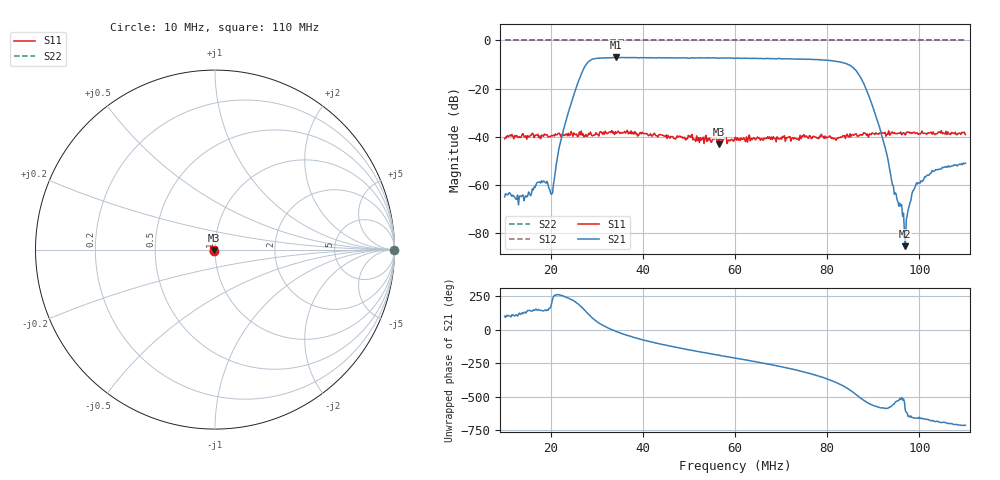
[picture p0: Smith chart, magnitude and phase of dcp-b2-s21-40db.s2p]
! Anritsu VNA Master:  Model: MS2034B/10/19/501
! SN:  1337062
! /bd0/ovro-jan-2016/dcp-b2-s21-40db.s2p
! Existing Calibration Information:
! TYPE:  Current Settings,  Active Cal Settings
! TIME:  01/09/2016 05:37:23 PM,  01/09/2016 12:40:35 PM
! INTERNAL TEMP:  41.8 C,  41.8 C
! # POINTS:  500,  500
! START FREQ:  10.000 MHz,  10.000 MHz
! STOP FREQ:  110.000 MHz,  110.000 MHz
! SOURCE POWER:  Low,  Low
! IFBW:  100 Hz,  100 Hz
! AVG FACTOR:  3 ,  3
! REF PLANE 1:  2.2245 m,  2.2245 m
! REF PLANE 2:  0 mm,  0 mm
! CAL TYPE:  1P2P S11,S21,  1P2P S11,S21
! CAL METHOD:  SOLT,  SOLT
! CAL LINE TYPE:  Coax,  Coax
! DUT PORT 1:  K-Conn(M),  K-Conn(M)
! DUT PORT 2:  N-Conn(M),  N-Conn(M)
! CAL STATUS:  OK: Accuracy High,  --
# GHZ S DB R 50.0
! FREQ.GHZ  S11DB  S11A  S21DB  S21A  S12DB  S12A  S22DB  S22A
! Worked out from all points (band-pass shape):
!   500 points, 10 MHz to 110 MHz, reference 50 ohm
!   highest |S21| = -7.05 dB at 34.25 MHz (marker M1); lowest = -85.6 dB at 96.97 MHz (marker M2)
!   |S21| within 3 dB of the highest: 27.69 MHz to 84.61 MHz (56.92 MHz wide, 101 % of centre)
!   lowest |S11| = -43.2 dB at 56.49 MHz (marker M3), VSWR 1.01, Z = 49.3 - j0.174 ohm
!   |S11| at or under -10 dB: start of sweep to end of sweep
!   |S22| runs from 0.0 to 0.0 dB; largest |S21 - S12| = 1.4
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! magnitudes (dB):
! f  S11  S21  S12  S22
! 10 MHz  -40.9  -65.1  0.0  0.0
! 14.61 MHz  -39.7  -64.6  0.0  0.0
! 18.42 MHz  -39.9  -58.5  0.0  0.0
! 20.22 MHz  -39.6  -64.1  0.0  0.0
! 22.63 MHz  -38.9  -38.3  0.0  0.0
! 26.83 MHz  -39.4  -13.1  0.0  0.0
! 29.04 MHz  -39.7  -7.8  0.0  0.0
! 34.25 MHz  -38.6  -7.1  0.0  0.0
! 43.47 MHz  -39.3  -7.2  0.0  0.0
! 56.49 MHz  -43.2  -7.4  0.0  0.0
! 60.1 MHz  -40.3  -7.5  0.0  0.0
! 76.73 MHz  -40.7  -7.9  0.0  0.0
! 83.75 MHz  -39.6  -9.4  0.0  0.0
! 86.55 MHz  -40.0  -13.3  0.0  0.0
! 90.16 MHz  -38.8  -29.1  0.0  0.0
! 93.37 MHz  -37.6  -51.5  0.0  0.0
! 94.37 MHz  -38.7  -60.5  0.0  0.0
! 96.97 MHz  -39.3  -85.6  0.0  0.0
! 98.38 MHz  -38.7  -63.9  0.0  0.0
! 99.58 MHz  -38.5  -59.7  0.0  0.0
! 103.2 MHz  -38.8  -54.4  0.0  0.0
! 110 MHz  -39.2  -51.1  0.0  0.0
